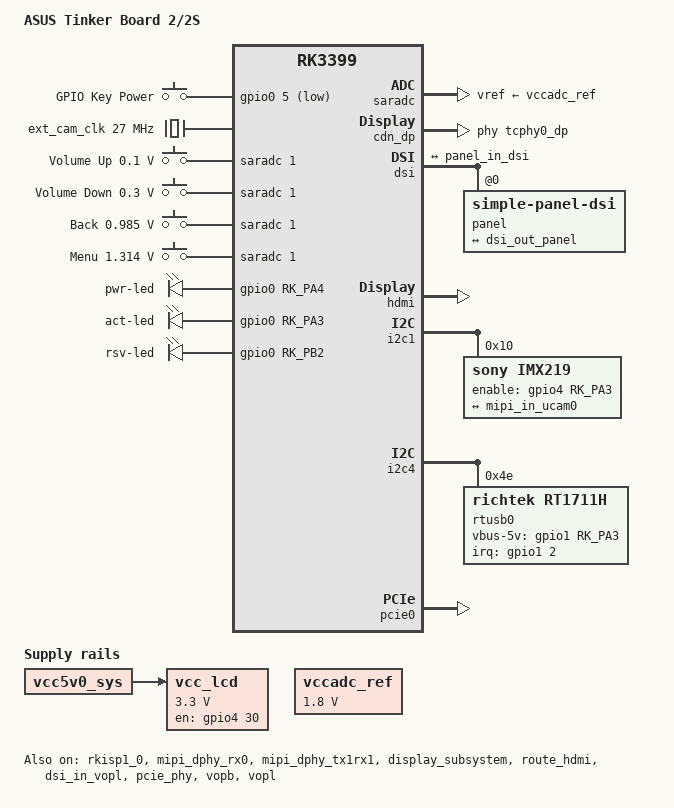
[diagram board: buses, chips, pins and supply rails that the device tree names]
/*
 * Copyright (c) 2016 Fuzhou Rockchip Electronics Co., Ltd
 *
 * This file is dual-licensed: you can use it either under the terms
 * of the GPL or the X11 license, at your option. Note that this dual
 * licensing only applies to this file, and not this project as a
 * whole.
 *
 *  a) This file is free software; you can redistribute it and/or
 *     modify it under the terms of the GNU General Public License as
 *     published by the Free Software Foundation; either version 2 of the
 *     License, or (at your option) any later version.
 *
 *     This file is distributed in the hope that it will be useful,
 *     but WITHOUT ANY WARRANTY; without even the implied warranty of
 *     MERCHANTABILITY or FITNESS FOR A PARTICULAR PURPOSE.  See the
 *     GNU General Public License for more details.
 *
 * Or, alternatively,
 *
 *  b) Permission is hereby granted, free of charge, to any person
 *     obtaining a copy of this software and associated documentation
 *     files (the "Software"), to deal in the Software without
 *     restriction, including without limitation the rights to use,
 *     copy, modify, merge, publish, distribute, sublicense, and/or
 *     sell copies of the Software, and to permit persons to whom the
 *     Software is furnished to do so, subject to the following
 *     conditions:
 *
 *     The above copyright notice and this permission notice shall be
 *     included in all copies or substantial portions of the Software.
 *
 *     THE SOFTWARE IS PROVIDED "AS IS", WITHOUT WARRANTY OF ANY KIND,
 *     EXPRESS OR IMPLIED, INCLUDING BUT NOT LIMITED TO THE WARRANTIES
 *     OF MERCHANTABILITY, FITNESS FOR A PARTICULAR PURPOSE AND
 *     NONINFRINGEMENT. IN NO EVENT SHALL THE AUTHORS OR COPYRIGHT
 *     HOLDERS BE LIABLE FOR ANY CLAIM, DAMAGES OR OTHER LIABILITY,
 *     WHETHER IN AN ACTION OF CONTRACT, TORT OR OTHERWISE, ARISING
 *     FROM, OUT OF OR IN CONNECTION WITH THE SOFTWARE OR THE USE OR
 *     OTHER DEALINGS IN THE SOFTWARE.
 */

/dts-v1/;

#include "rk3399-tinker-2.dtsi"
#include <dt-bindings/input/input.h>
#include <dt-bindings/usb/pd.h>

/ {
	model = "ASUS Tinker Board 2/2S";
	compatible = "rockchip,rk3399-tinker_board_2", "rockchip,rk3399";
	/delete-node/ chosen;

	vcc_lcd: vcc-lcd {
		compatible = "regulator-fixed";
		regulator-name = "vcc_lcd";
		gpio = <&gpio4 30 GPIO_ACTIVE_HIGH>;
		startup-delay-us = <20000>;
		enable-active-high;
		regulator-min-microvolt = <3300000>;
		regulator-max-microvolt = <3300000>;
		regulator-boot-on;
		vin-supply = <&vcc5v0_sys>;
	};

	panel: panel {
		compatible = "simple-panel";
		status = "disabled";
		backlight = <&backlight>;
		power-supply = <&vcc_lcd>;
		enable-gpios = <&gpio1 13 GPIO_ACTIVE_HIGH>;
		prepare-delay-ms = <20>;
		enable-delay-ms = <20>;

		display-timings {
			native-mode = <&timing0>;

			timing0: timing0 {
				clock-frequency = <200000000>;
				hactive = <1536>;
				vactive = <2048>;
				hfront-porch = <12>;
				hsync-len = <16>;
				hback-porch = <48>;
				vfront-porch = <8>;
				vsync-len = <4>;
				vback-porch = <8>;
				hsync-active = <0>;
				vsync-active = <0>;
				de-active = <0>;
				pixelclk-active = <0>;
			};
		};

		ports {
			panel_in: endpoint {
				remote-endpoint = <&edp_out>;
			};
		};
	};

	hdmi_sound: hdmi-sound {
		status = "okay";
	};

	gpio-keys {
		compatible = "gpio-keys";
		#address-cells = <1>;
		#size-cells = <0>;
		autorepeat;

		pinctrl-names = "default";
		pinctrl-0 = <&pwrbtn>;

		button@0 {
			gpios = <&gpio0 5 GPIO_ACTIVE_LOW>;
			linux,code = <KEY_POWER>;
			label = "GPIO Key Power";
			linux,input-type = <1>;
			gpio-key,wakeup = <1>;
			debounce-interval = <100>;
		};
	};

	vccadc_ref: vccadc-ref {
		compatible = "regulator-fixed";
		regulator-name = "vcc1v8_sys";
		regulator-always-on;
		regulator-boot-on;
		regulator-min-microvolt = <1800000>;
		regulator-max-microvolt = <1800000>;
	};

	ext_cam_clk: external-camera-clock {
		compatible = "fixed-clock";
		clock-frequency = <27000000>;
		clock-output-names = "CLK_CAMERA_27MHZ";
		#clock-cells = <0>;
	};

	adc-keys {
		compatible = "adc-keys";
		io-channels = <&saradc 1>;
		io-channel-names = "buttons";
		poll-interval = <100>;
		keyup-threshold-microvolt = <1800000>;

		button-up {
			label = "Volume Up";
			linux,code = <KEY_VOLUMEUP>;
			press-threshold-microvolt = <100000>;
		};

		button-down {
			label = "Volume Down";
			linux,code = <KEY_VOLUMEDOWN>;
			press-threshold-microvolt = <300000>;
		};

		back {
			label = "Back";
			linux,code = <KEY_BACK>;
			press-threshold-microvolt = <985000>;
		};

		menu {
			label = "Menu";
			linux,code = <KEY_MENU>;
			press-threshold-microvolt = <1314000>;
		};
	};

	gpio-leds {
		compatible = "gpio-leds";

		pwr-led {
			gpios = <&gpio0 RK_PA4 GPIO_ACTIVE_HIGH>;
			linux,default-trigger = "default-on";
			retain-state-suspended = <1>;
		};

		act-led {
			gpios = <&gpio0 RK_PA3 GPIO_ACTIVE_HIGH>;
			linux,default-trigger="mmc1";
		};

		rsv-led {
			gpios = <&gpio0 RK_PB2 GPIO_ACTIVE_HIGH>;
			linux,default-trigger="none";
		};
	};

	board_info: board-info {
		compatible = "board-info";

		hw-id0 = <&gpio4 RK_PA7 GPIO_ACTIVE_HIGH>;
		hw-id1 = <&gpio4 RK_PA6 GPIO_ACTIVE_HIGH>;
		hw-id2 = <&gpio4 RK_PA5 GPIO_ACTIVE_HIGH>;

		pid-id0 = <&gpio2 RK_PA5 GPIO_ACTIVE_HIGH>;
		pid-id1 = <&gpio2 RK_PA3 GPIO_ACTIVE_HIGH>;
		pid-id2 = <&gpio2 RK_PA2 GPIO_ACTIVE_HIGH>;

		ddr-id1 = <&gpio4 RK_PA4 GPIO_ACTIVE_HIGH>;
		ddr-id2 = <&gpio4 RK_PA0 GPIO_ACTIVE_HIGH>;

		pmic-reset = <&gpio1 RK_PA6 GPIO_ACTIVE_HIGH>;
	};
};

&rkisp1_0 {
	status = "okay";

	port {
		#address-cells = <1>;
		#size-cells = <0>;

		isp0_mipi_in: endpoint@0 {
			reg = <0>;
			remote-endpoint = <&dphy_rx0_out>;
		};
	};
};

&mipi_dphy_rx0 {
	status = "okay";

	ports {
		#address-cells = <1>;
		#size-cells = <0>;

		port@0 {
			reg = <0>;
			#address-cells = <1>;
			#size-cells = <0>;

			mipi_in_ucam0: endpoint@1 {
				reg = <1>;
				remote-endpoint = <&imx219_out>;
				data-lanes = <1 2>;
			};
		};

		port@1 {
			reg = <1>;
			#address-cells = <1>;
			#size-cells = <0>;

			dphy_rx0_out: endpoint@0 {
				reg = <0>;
				remote-endpoint = <&isp0_mipi_in>;
			};
		};
	};
};

&isp0_mmu {
	status = "okay";
};

&rkisp1_1 {
	status = "disabled";

	port {
		#address-cells = <1>;
		#size-cells = <0>;

		isp1_mipi_in: endpoint@0 {
			reg = <0>;
			remote-endpoint = <&dphy_tx1rx1_out>;
		};
	};
};

&mipi_dphy_tx1rx1 {
	status = "okay";

	ports {
		#address-cells = <1>;
		#size-cells = <0>;

		port@0 {
			reg = <0>;
			#address-cells = <1>;
			#size-cells = <0>;

			mipi_in_ucam1: endpoint@1 {
				reg = <1>;
				/* Unlinked camera */
				//remote-endpoint = <&ucam_out1>;
				data-lanes = <1 2>;
			};
		};

		port@1 {
			reg = <1>;
			#address-cells = <1>;
			#size-cells = <0>;

			dphy_tx1rx1_out: endpoint@0 {
				reg = <0>;
				remote-endpoint = <&isp1_mipi_in>;
			};
		};
	};
};

&isp1_mmu {
	status = "disabled";
};

&saradc {
	vref-supply = <&vccadc_ref>;
};

&backlight {
	status = "disabled";
	enable-gpios = <&gpio4 29 GPIO_ACTIVE_HIGH>;
};

&cdn_dp {
	status = "okay";
	extcon = <&fusb0>;
	phys = <&tcphy0_dp>;
};

&display_subsystem {
	status = "okay";
};

&route_edp {
	status = "disabled";
};

&route_hdmi {
	status = "okay";
	connect = <&vopb_out_hdmi>;
};

&dsi {
	status = "okay";
	panel@0 {
		compatible ="simple-panel-dsi";
		reg = <0>;

		rpi-init-sequence = [
				29 00 06 10 02 03 00 00 00
				29 00 06 64 01 0C 00 00 00
				29 00 06 68 01 0C 00 00 00
				29 00 06 44 01 00 00 00 00
				29 00 06 48 01 00 00 00 00
				29 00 06 14 01 15 00 00 00
				29 00 06 50 04 60 00 00 00
				29 00 06 20 04 52 01 10 00
				29 00 06 24 04 14 00 1A 00
				29 00 06 28 04 20 03 69 00
				29 00 06 2C 04 02 00 15 00
				29 00 06 30 04 E0 01 07 00
				29 00 06 34 04 01 00 00 00
				29 00 06 64 04 0F 04 00 00
				29 00 06 04 01 01 00 00 00
				29 00 06 04 02 01 00 00 00
		];
		powertip-exit-sequence = [
			05 14 01 28
			05 78 01 10
		];
		powertip-rev-a-init-sequence = [
			39 00 04 ff 98 81 03
			15 00 02 03 55
			15 00 02 04 13
			15 00 02 06 06
			15 00 02 07 01
			15 00 02 09 01
			15 00 02 0a 01
			15 00 02 0f 18
			15 00 02 10 18
			15 00 02 1e 44
			15 00 02 1f 80
			15 00 02 20 02
			15 00 02 21 03
			15 00 02 28 33
			15 00 02 29 03
			15 00 02 34 04
			15 00 02 38 01
			15 00 02 50 01
			15 00 02 51 23
			15 00 02 52 45
			15 00 02 53 67
			15 00 02 54 89
			15 00 02 55 ab
			15 00 02 56 01
			15 00 02 57 23
			15 00 02 58 45
			15 00 02 59 67
			15 00 02 5a 89
			15 00 02 5b ab
			15 00 02 5c cd
			15 00 02 5d ef
			15 00 02 5e 11
			15 00 02 5f 14
			15 00 02 60 15
			15 00 02 61 0f
			15 00 02 62 0d
			15 00 02 63 0e
			15 00 02 64 0c
			15 00 02 65 06
			15 00 02 66 02
			15 00 02 67 02
			15 00 02 68 02
			15 00 02 69 02
			15 00 02 6a 02
			15 00 02 6b 02
			15 00 02 6c 02
			15 00 02 6d 02
			15 00 02 6e 02
			15 00 02 6f 02
			15 00 02 70 02
			15 00 02 72 01
			15 00 02 73 08
			15 00 02 74 02
			15 00 02 75 14
			15 00 02 76 15
			15 00 02 77 0f
			15 00 02 78 0d
			15 00 02 79 0e
			15 00 02 7a 0c
			15 00 02 7b 08
			15 00 02 7c 02
			15 00 02 7d 02
			15 00 02 7e 02
			15 00 02 7f 02
			15 00 02 80 02
			15 00 02 81 02
			15 00 02 82 02
			15 00 02 83 02
			15 00 02 84 02
			15 00 02 85 02
			15 00 02 86 02
			15 00 02 88 01
			15 00 02 89 06
			15 00 02 8a 02
			39 00 04 ff 98 81 04
			15 00 02 6c 15
			15 00 02 6e 2a
			15 00 02 6f 33
			15 00 02 3a 24
			15 00 02 8d 14
			15 00 02 87 ba
			15 00 02 26 76
			15 00 02 b2 d1
			15 00 02 b5 d7
			15 00 02 35 1f
			39 00 04 ff 98 81 01
			15 00 02 22 0a
			15 00 02 53 72
			15 00 02 55 77
			15 00 02 50 a6
			15 00 02 51 a6
			15 00 02 60 30
			15 00 02 a0 08
			15 00 02 a1 1a
			15 00 02 a2 2a
			15 00 02 a3 14
			15 00 02 a4 17
			15 00 02 a5 2b
			15 00 02 a6 1d
			15 00 02 a7 20
			15 00 02 a8 9d
			15 00 02 a9 1c
			15 00 02 aa 29
			15 00 02 ab 8f
			15 00 02 ac 20
			15 00 02 ad 1f
			15 00 02 ae 4f
			15 00 02 af 23
			15 00 02 b0 29
			15 00 02 b1 56
			15 00 02 b2 66
			15 00 02 b3 39
			15 00 02 c0 08
			15 00 02 c1 1a
			15 00 02 c2 2a
			15 00 02 c3 15
			15 00 02 c4 17
			15 00 02 c5 2b
			15 00 02 c6 1d
			15 00 02 c7 20
			15 00 02 c8 9d
			15 00 02 c9 1d
			15 00 02 ca 29
			15 00 02 cb 8f
			15 00 02 cc 20
			15 00 02 cd 1f
			15 00 02 ce 4f
			15 00 02 cf 24
			15 00 02 d0 29
			15 00 02 d1 56
			15 00 02 d2 66
			15 00 02 d3 39
			39 00 04 ff 98 81 00
			15 00 02 35 00
			05 78 01 11
			05 78 01 29
		];
		powertip-rev-b-init-sequence = [
			39 00 04 FF 98 81 03
			15 00 02 01 00
			15 00 02 02 00
			15 00 02 03 73
			15 00 02 04 00
			15 00 02 05 00
			15 00 02 06 0A
			15 00 02 07 00
			15 00 02 08 00
			15 00 02 09 61
			15 00 02 0A 00
			15 00 02 0B 00
			15 00 02 0C 01
			15 00 02 0D 00
			15 00 02 0E 00
			15 00 02 0F 61
			15 00 02 10 61
			15 00 02 11 00
			15 00 02 12 00
			15 00 02 13 00
			15 00 02 14 00
			15 00 02 15 00
			15 00 02 16 00
			15 00 02 17 00
			15 00 02 18 00
			15 00 02 19 00
			15 00 02 1A 00
			15 00 02 1B 00
			15 00 02 1C 00
			15 00 02 1D 00
			15 00 02 1E 40
			15 00 02 1F 80
			15 00 02 20 06
			15 00 02 21 01
			15 00 02 22 00
			15 00 02 23 00
			15 00 02 24 00
			15 00 02 25 00
			15 00 02 26 00
			15 00 02 27 00
			15 00 02 28 33
			15 00 02 29 03
			15 00 02 2A 00
			15 00 02 2B 00
			15 00 02 2C 00
			15 00 02 2D 00
			15 00 02 2E 00
			15 00 02 2F 00
			15 00 02 30 00
			15 00 02 31 00
			15 00 02 32 00
			15 00 02 33 00
			15 00 02 34 04
			15 00 02 35 00
			15 00 02 36 00
			15 00 02 37 00
			15 00 02 38 3C
			15 00 02 39 00
			15 00 02 3A 00
			15 00 02 3B 00
			15 00 02 3C 00
			15 00 02 3D 00
			15 00 02 3E 00
			15 00 02 3F 00
			15 00 02 40 00
			15 00 02 41 00
			15 00 02 42 00
			15 00 02 43 00
			15 00 02 44 00
			15 00 02 50 10
			15 00 02 51 32
			15 00 02 52 54
			15 00 02 53 76
			15 00 02 54 98
			15 00 02 55 BA
			15 00 02 56 10
			15 00 02 57 32
			15 00 02 58 54
			15 00 02 59 76
			15 00 02 5A 98
			15 00 02 5B BA
			15 00 02 5C DC
			15 00 02 5D FE
			15 00 02 5E 00
			15 00 02 5F 0E
			15 00 02 60 0F
			15 00 02 61 0C
			15 00 02 62 0D
			15 00 02 63 06
			15 00 02 64 07
			15 00 02 65 02
			15 00 02 66 02
			15 00 02 67 02
			15 00 02 68 02
			15 00 02 69 01
			15 00 02 6A 00
			15 00 02 6B 02
			15 00 02 6C 15
			15 00 02 6D 14
			15 00 02 6E 02
			15 00 02 6F 02
			15 00 02 70 02
			15 00 02 71 02
			15 00 02 72 02
			15 00 02 73 02
			15 00 02 74 02
			15 00 02 75 0E
			15 00 02 76 0F
			15 00 02 77 0C
			15 00 02 78 0D
			15 00 02 79 06
			15 00 02 7A 07
			15 00 02 7B 02
			15 00 02 7C 02
			15 00 02 7D 02
			15 00 02 7E 02
			15 00 02 7F 01
			15 00 02 80 00
			15 00 02 81 02
			15 00 02 82 14
			15 00 02 83 15
			15 00 02 84 02
			15 00 02 85 02
			15 00 02 86 02
			15 00 02 87 02
			15 00 02 88 02
			15 00 02 89 02
			15 00 02 8A 02
			39 00 04 FF 98 81 04
			15 00 02 6C 15
			15 00 02 6E 2A
			15 00 02 6F 33
			15 00 02 3B 98
			15 00 02 3A 94
			15 00 02 8D 14
			15 00 02 87 BA
			15 00 02 26 76
			15 00 02 B2 D1
			15 00 02 B5 06
			15 00 02 38 01
			15 00 02 39 00
			39 00 04 FF 98 81 01
			15 00 02 22 0A
			15 00 02 31 00
			15 00 02 53 7D
			15 00 02 55 8F
			15 00 02 40 33
			15 00 02 50 96
			15 00 02 51 96
			15 00 02 60 23
			15 00 02 A0 08
			15 00 02 A1 1D
			15 00 02 A2 2A
			15 00 02 A3 10
			15 00 02 A4 15
			15 00 02 A5 28
			15 00 02 A6 1C
			15 00 02 A7 1D
			15 00 02 A8 7E
			15 00 02 A9 1D
			15 00 02 AA 29
			15 00 02 AB 6B
			15 00 02 AC 1A
			15 00 02 AD 18
			15 00 02 AE 4B
			15 00 02 AF 20
			15 00 02 B0 27
			15 00 02 B1 50
			15 00 02 B2 64
			15 00 02 B3 39
			15 00 02 C0 08
			15 00 02 C1 1D
			15 00 02 C2 2A
			15 00 02 C3 10
			15 00 02 C4 15
			15 00 02 C5 28
			15 00 02 C6 1C
			15 00 02 C7 1D
			15 00 02 C8 7E
			15 00 02 C9 1D
			15 00 02 CA 29
			15 00 02 CB 6B
			15 00 02 CC 1A
			15 00 02 CD 18
			15 00 02 CE 4B
			15 00 02 CF 20
			15 00 02 D0 27
			15 00 02 D1 50
			15 00 02 D2 64
			15 00 02 D3 39
			39 00 04 ff 98 81 00
			15 00 02 35 00
			05 78 01 11
			05 78 01 29
		];

		rpi-display-timings {
			native-mode = <&timing2>;

			timing2: timing2 {
				clock-frequency = <26101800>;
				hactive = <800>;
				vactive = <480>;
				hfront-porch = <2>;
				hsync-len = <2>;
				hback-porch = <52>;
				vfront-porch = <7>;
				vsync-len = <2>;
				vback-porch = <21>;
				hsync-active = <0>;
				vsync-active = <0>;
				de-active = <0>;
				pixelclk-active = <0>;
			};
		};

		powertip-display-timings {
			native-mode = <&timing1>;

			timing1: timing1 {
				clock-frequency = <66800000>;
				hactive = <720>;
				vactive = <1280>;
				hfront-porch = <8>;
				hsync-len = <55>;
				hback-porch = <55>;
				vfront-porch = <8>;
				vsync-len = <20>;
				vback-porch = <20>;
				hsync-active = <0>;
				vsync-active = <0>;
				de-active = <0>;
				pixelclk-active = <0>;
			};
		};

		ports {
			#address-cells = <1>;
			#size-cells = <0>;

			port@0 {
				reg = <0>;

				panel_in_dsi: endpoint {
					remote-endpoint = <&dsi_out_panel>;
				};
			};
		};
	};

	ports {
		#address-cells = <1>;
		#size-cells = <0>;

		port@1 {
			reg = <1>;

			dsi_out_panel: endpoint {
				remote-endpoint = <&panel_in_dsi>;
			};
		};
	};
};

&edp {
	status = "disabled";
	force-hpd;

	ports {
		port@1 {
			reg = <1>;

			edp_out: endpoint {
				remote-endpoint = <&panel_in>;
			};
		};
	};
};

&dsi_in_vopl {
	status = "okay";
};

&dsi_in_vopb {
	status = "disabled";
};

&dsi1 {
	status = "disabled";
};

&dsi1_in_vopl {
	status = "disabled";
};

&dsi1_in_vopb {
	status = "disabled";
};

&edp {
	status = "disabled";
};

&edp_in_vopb {
	status = "disabled";
};

&edp_in_vopl {
	status = "disabled";
};

&dp_in_vopb {
	status = "disabled";
};

&hdmi {
	pinctrl-0 = <&hdmi_i2c_xfer>, <&hdmi_cec>;
	#sound-dai-cells = <0>;
	rockchip,phy-table =
		<92812500 0x8009 0x0000 0x02ed>,
		<165000000 0x8019 0x0000 0x02cd>,
		<185625000 0x8019 0x0000 0x02cd>,
		<297000000 0x800b 0x0000 0x01cd>,
		<594000000 0x8029 0x0000 0x00a4>,
		<000000000 0x0000 0x0000 0x0000>;
	status = "okay";
};

&hdmi_in_vopl {
	status = "disabled";
};

&i2c1 {
	status = "okay";

	imx219: imx219@10 {
		compatible = "sony,imx219";
		status = "okay";
		reg = <0x10>;
		clocks = <&cru SCLK_CIF_OUT>;
		clock-names = "xvclk";
		pinctrl-names = "rockchip,camera_default";
		pinctrl-0 = <&cif_clkout>;

		enable-gpios = <&gpio4 RK_PA3 GPIO_ACTIVE_HIGH>;
		rockchip,camera-module-index = <0>;
		rockchip,camera-module-facing = "back";
		rockchip,camera-module-name = "RPi_v21";
		rockchip,camera-module-lens-name = "default";

		port {
			imx219_out: endpoint {
				remote-endpoint = <&mipi_in_ucam0>;
				data-lanes = <1 2>;
			};
		};
	};

	ov5647: ov5647@36 {
		compatible = "ovti,ov5647";
		status = "disabled";
		reg = <0x36>;
		clocks = <&cru SCLK_CIF_OUT>;
		clock-names = "xvclk";

		pinctrl-names = "rockchip,camera_default";
		pinctrl-0 = <&cif_clkout>;

		enable-gpios = <&gpio4 RK_PA3 GPIO_ACTIVE_HIGH>;

		rockchip,camera-module-index = <0>;
		rockchip,camera-module-facing = "back";
		rockchip,camera-module-name = "RPi_v13";
		rockchip,camera-module-lens-name = "default";

		port {
			ov5647_out: endpoint {
			};
		};
	};
};

&i2c4 {
	status = "okay";

	rtusb0: rt1711h@4e {
		status = "okay";
		compatible = "richtek,rt1711h";
		reg = <0x4e>;
		pinctrl-names = "default";
		pinctrl-0 = <&fusb0_int>;
		interrupt-parent = <&gpio1>;
		interrupts = <2 IRQ_TYPE_LEVEL_LOW>;
		vbus-5v-gpios = <&gpio1 RK_PA3 GPIO_ACTIVE_HIGH>;
		usb_con: connector {
			compatible = "usb-c-connector";
			label = "USB-C";
			data-role = "dual";
			power-role = "dual";
			try-power-role = "source";
			source-pdos = <PDO_FIXED(5000, 500, PDO_FIXED_USB_COMM)>;
			sink-pdos = <PDO_FIXED(5000, 500, PDO_FIXED_USB_COMM)>;
			op-sink-microwatt = <1000000>;
			typec-altmodes = <0xff01 1 0x001c0c00 1>;
		};
	};
};

&i2c6 {
	status = "disabled";
};

&i2c7 {
	status = "disabled";
};

&pcie_phy {
	status = "okay";
};

&pcie0 {
	status = "okay";
};

&vopb {
	status = "okay";
	assigned-clocks = <&cru DCLK_VOP0_DIV>;
	assigned-clock-parents = <&cru PLL_VPLL>;
};

&vopb_mmu {
	status = "okay";
};

&vopl {
	status = "okay";
	assigned-clocks = <&cru DCLK_VOP1_DIV>;
	assigned-clock-parents = <&cru PLL_CPLL>;
};

&vopl_mmu {
	status = "okay";
};

&pinctrl {
	pinctrl-names = "default";
	pinctrl-0 = <&gpio_init &test_clkout2>;

	gpio_init_config {
		gpio_init: gpio_init {
			rockchip,pins =
				<1 7 0 &pcfg_pull_none>,
				<1 8 0 &pcfg_pull_none>,
				<1 9 0 &pcfg_pull_none>,
				<1 10 0 &pcfg_pull_none>,
				<2 19 0 &pcfg_pull_none>;
		};
	};

	mipi_to_lvds {
		/*pinctrl_lvds_hdmi_sel: lvds_hdmi_sel {
			rockchip,pins = <0 5 RK_FUNC_GPIO  &pcfg_pull_none>;
		};*/

		pinctrl_sn65dsi84_irq: sn65dsi84_irq{
			rockchip,pins = <1 RK_PB2 RK_FUNC_GPIO  &pcfg_pull_none>;
		};

		pinctrl_lvds_bl_en: lvds_bl_en {
			rockchip,pins = <1 RK_PB0 RK_FUNC_GPIO  &pcfg_pull_none>;
		};

		pinctrl_sn65dsi84_en: sn65dsi84_en {
			rockchip,pins = <1 RK_PA7 RK_FUNC_GPIO   &pcfg_pull_none>;
		};

		pinctrl_lvds_vdd_en: lvds_vdd_en {
			rockchip,pins = <1 RK_PB1 RK_FUNC_GPIO  &pcfg_pull_none>;
		};

		pinctrl_pwr_source: pwr_source {
			rockchip,pins = <0 RK_PA6 RK_FUNC_GPIO  &pcfg_pull_none>;
		};
	 };

	buttons {
		pwrbtn: pwrbtn {
			rockchip,pins = <0 RK_PA5 RK_FUNC_GPIO &pcfg_pull_up>;
		};
	};
};

&sdmmc {
	sd-uhs-sdr12;
	sd-uhs-sdr25;
	sd-uhs-sdr50;
	sd-uhs-sdr104;
	supports-emmc;
};

&cdn_dp {
        extcon = <&fusb0>, <0>, <&rtusb0>;
};

&tcphy0 {
        extcon = <&fusb0>, <&rtusb0>;
};

&u2phy0 {
        extcon = <&fusb0>, <&rtusb0>;
};

&usbdrd_dwc3_0 {
        extcon = <&fusb0>, <&rtusb0>;
};

&spi1 {
	status = "disable";
	max-freq = <48000000>; /* spi internal clk, don't modify */
	spi_dev@0 {
		compatible = "rockchip,spidev";
		reg = <0>;
		spi-max-frequency = <48000000>;
		spi-lsb-first;
	};
};

&spi5 {
	status = "disable";
	max-freq = <48000000>;   //spi internal clk, don't modify
	spi_dev@0 {
		compatible = "rockchip,spidev";
		reg = <0>;   //chip select  0:cs0  1:cs1
		id = <0>;
		spi-max-frequency = <48000000>;   //spi output clock
	};
};

&backlight {
		status = "disabled";
		compatible = "pwm-backlight";
		pwms = <&pwm0 0 400000 0>;//f=2500 t=400,000ns
		brightness-levels = <
			  0   1   2   3   4   5   6   7
			  8   9  10  11  12  13  14  15
			 16  17  18  19  20  21  22  23
			 24  25  26  27  28  29  30  31
			 32  33  34  35  36  37  38  39
			 40  41  42  43  44  45  46  47
			 48  49  50  51  52  53  54  55
			 56  57  58  59  60  61  62  63
			 64  65  66  67  68  69  70  71
			 72  73  74  75  76  77  78  79
			 80  81  82  83  84  85  86  87
			 88  89  90  91  92  93  94  95
			 96  97  98  99 100 101 102 103
			104 105 106 107 108 109 110 111
			112 113 114 115 116 117 118 119
			120 121 122 123 124 125 126 127
			128 129 130 131 132 133 134 135
			136 137 138 139 140 141 142 143
			144 145 146 147 148 149 150 151
			152 153 154 155 156 157 158 159
			160 161 162 163 164 165 166 167
			168 169 170 171 172 173 174 175
			176 177 178 179 180 181 182 183
			184 185 186 187 188 189 190 191
			192 193 194 195 196 197 198 199
			200 201 202 203 204 205 206 207
			208 209 210 211 212 213 214 215
			216 217 218 219 220 221 222 223
			224 225 226 227 228 229 230 231
			232 233 234 235 236 237 238 239
			240 241 242 243 244 245 246 247
			248 249 250 251 252 253 254 255>;
		default-brightness-level = <200>;
		minimal-brightness-level = <26>;
		soc_enablekl-gpios = <&gpio1 RK_PB0 GPIO_ACTIVE_HIGH>;
		enable_delay = <15>;//EDP T14,min 10
		post-pwm-on-delay-ms = <15>;//EDP T15,min 10ms, Backlight node:post-pwm-on-delay-ms = <15>;
		pwm-off-delay-ms = <15>;//EDP T16,min 10ms, Backlight node:pwm-off-delay-ms = <15>;
		disable_delay = <15>;//EDP T17,min 10
		pinctrl-names = "default";
		pinctrl-0 = <&pinctrl_lvds_bl_en>;
};
